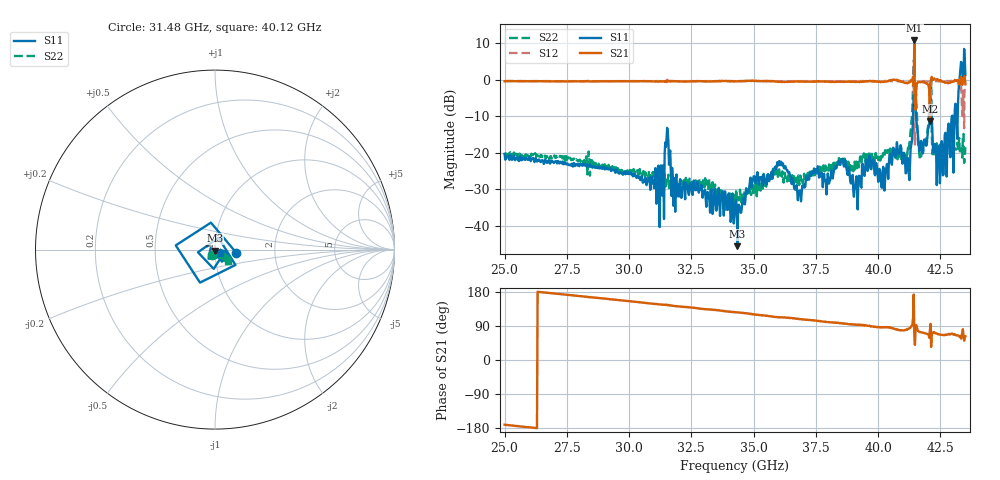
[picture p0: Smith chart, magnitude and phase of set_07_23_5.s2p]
!Keysight Technologies,N5224A,MY55441802,A.10.65.16
!Date: Tuesday, March 03, 2026 16:46:05
!Correction: S11(Full 2 Port(1,2))
!S21(Full 2 Port(1,2))
!S12(Full 2 Port(1,2))
!S22(Full 2 Port(1,2))
!S2P File: Measurements: S11, S21, S12, S22:
# Hz S  dB  R 50
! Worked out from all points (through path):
!   741 points, 25 GHz to 43.5 GHz, reference 50 ohm
!   highest |S21| = 10.81 dB at 41.45 GHz (marker M1); lowest = -11.3 dB at 42.08 GHz (marker M2)
!   lowest |S11| = -45.6 dB at 34.35 GHz (marker M3), VSWR 1.01, Z = 50.1 - j0.523 ohm
!   |S11| at or under -10 dB: start of sweep to 41.4 GHz; 41.52 GHz to 42.06 GHz (543.3 MHz wide, 1.3 % of centre); 42.15 GHz to 42.96 GHz (808.9 MHz wide, 1.9 % of centre)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
!   |S22| runs from -36.1 to 5.8 dB; largest |S21 - S12| = 3.3
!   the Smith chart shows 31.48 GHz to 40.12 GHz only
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2.5e10  -20.31 -86.2  -0.37 -170.7  -0.35 -170.4  -19.96 -79.4
2.81e10  -23.02 -106.2  -0.41 168.2  -0.38 168.4  -22.00 -102.1
3.1175e10  -23.51 -106.2  -0.45 147.1  -0.35 147.4  -25.31 -108.5
3.15e10  -16.36 98.6  -0.58 146.1  -0.14 146.3  -27.38 -91.7
3.1775e10  -34.50 -117.7  -0.37 142.8  -0.33 143.1  -29.87 -106.4
3.425e10  -35.51 -82.6  -0.35 125.8  -0.29 126.0  -34.01 -56.7
3.435e10  -45.58 -83.4  -0.39 125.7  -0.32 125.1  -32.17 -71.1
3.6025e10  -22.26 -58.2  -0.46 112.8  -0.47 114.0  -24.56 -46.6
3.6825e10  -30.44 -46.2  -0.46 107.8  -0.40 108.8  -28.84 -36.4
3.735e10  -25.32 -35.7  -0.45 105.0  -0.39 104.6  -25.35 -32.9
3.86e10  -22.99 -29.0  -0.49 95.9  -0.50 96.2  -22.60 -30.8
3.91e10  -27.73 -42.4  -0.59 93.6  -0.38 93.4  -23.48 -47.8
4.0425e10  -23.44 -86.5  -0.23 86.5  -0.25 83.8  -18.58 -38.8
4.115e10  -22.57 -57.6  -0.83 79.6  -0.30 79.6  -22.05 -44.5
4.145e10  -6.09 87.9  10.81 64.9  -14.24 37.4  5.80 -101.4
4.17e10  -17.14 -73.9  -0.63 73.5  -0.35 75.0  -20.83 -13.8
4.2075e10  -8.43 -124.6  -11.33 77.5  -5.21 48.0  -0.83 -55.3
4.2225e10  -20.01 -58.5  0.22 73.3  -0.21 69.6  -21.03 -34.7
4.255e10  -16.79 -65.6  -0.42 66.2  -0.32 68.2  -19.05 -33.9
4.3225e10  -3.03 -86.6  -0.14 63.6  -1.32 49.8  -18.46 -44.5
4.34e10  -0.36 -80.8  -0.09 81.2  -2.92 96.4  -15.35 32.7
4.35e10  1.29 -58.3  -1.20 62.5  -2.73 49.0  -18.48 -47.7
